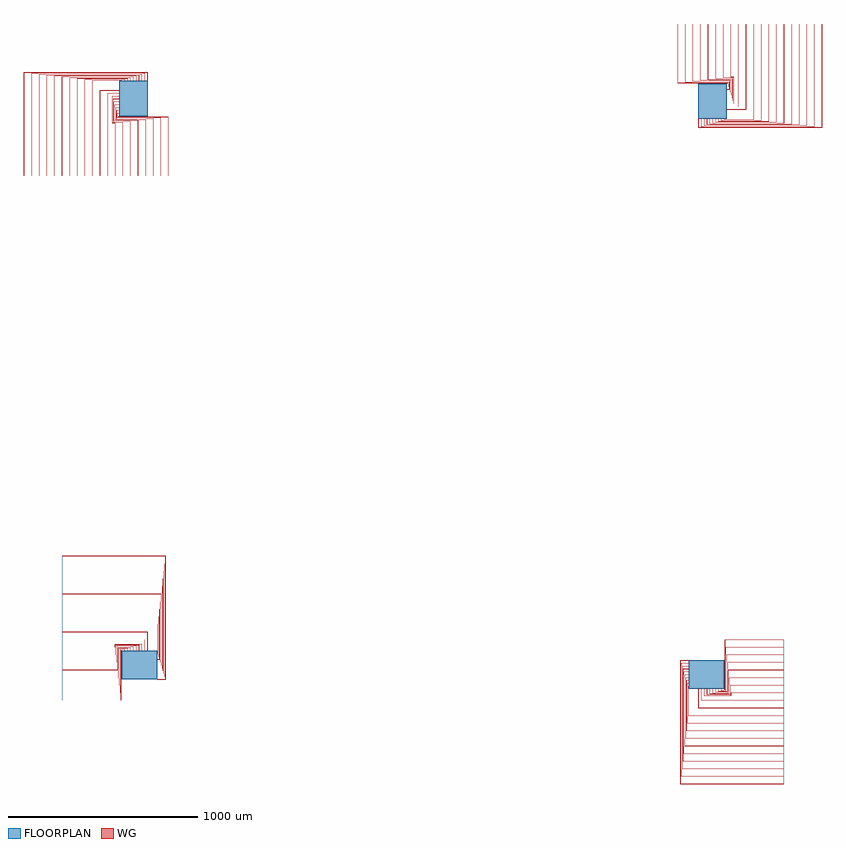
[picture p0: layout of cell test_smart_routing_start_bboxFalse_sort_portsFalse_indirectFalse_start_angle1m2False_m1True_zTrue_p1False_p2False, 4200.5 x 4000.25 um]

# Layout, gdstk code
import gdstk
lib = gdstk.Library(unit=1e-6, precision=1e-09)
def R(c, l, rs):  # rectangles x0, y0, x1, y1
    for r in rs: c.add(gdstk.rectangle(r[:2], r[2:], *l))
def P(c, l, *ps):  # polygons
    for p in ps: c.add(gdstk.Polygon(p, *l))
WG = (1, 0)
FLOORPLAN = (10, 0)

test_smart_routing_start = lib.new_cell('test_smart_routing_start_bboxFalse_sort_portsFalse_indirectFalse_start_angle1m2False_m1True_zTrue_p1False_p2False')
P(test_smart_routing_start, WG, [(100,-50.25),(100,-49.75),(144.5,-49.75),(144.5,599.75),(-400,599.75),(-400,600.25),(145,600.25),(145,-50.25)],
  [(100,-35.25),(100,-34.75),(140,-34.75),(140,559.75),(-400,559.75),(-400,560.25),(140.5,560.25),(140.5,-35.25)],
  [(100,-20.25),(100,-19.75),(135.5,-19.75),(135.5,519.75),(-400,519.75),(-400,520.25),(136,520.25),(136,-20.25)],
  [(100,-5.25),(100,-4.75),(131,-4.75),(131,479.75),(-400,479.75),(-400,480.25),(131.5,480.25),(131.5,-5.25)],
  [(100,9.75),(100,10.25),(126.5,10.25),(126.5,439.75),(-400,439.75),(-400,440.25),(127,440.25),(127,9.75)],
  [(100,24.75),(100,25.25),(122,25.25),(122,399.75),(-400,399.75),(-400,400.25),(122.5,400.25),(122.5,24.75)],
  [(100,39.75),(100,40.25),(117.5,40.25),(117.5,359.75),(-400,359.75),(-400,360.25),(118,360.25),(118,39.75)],
  [(100,54.75),(100,55.25),(113,55.25),(113,319.75),(-400,319.75),(-400,320.25),(113.5,320.25),(113.5,54.75)],
  [(100,69.75),(100,70.25),(108.5,70.25),(108.5,279.75),(-400,279.75),(-400,280.25),(109,280.25),(109,69.75)],
  [(100,84.75),(100,85.25),(104,85.25),(104,239.75),(-400,239.75),(-400,240.25),(104.5,240.25),(104.5,84.75)],
  [(49.75,100),(49.75,199.75),(-400,199.75),(-400,200.25),(50.25,200.25),(50.25,100)],
  [(34.75,100),(34.75,159.75),(-400,159.75),(-400,160.25),(35.25,160.25),(35.25,100)],
  [(19.75,100),(19.75,135.5),(-120.75,135.5),(-120.75,119.75),(-400,119.75),(-400,120.25),(-121.25,120.25),(-121.25,136),(20.25,136),(20.25,100)],
  [(-400,79.75),(-400,80.25),(-116.75,80.25),(-116.75,131.5),(5.25,131.5),(5.25,100),(4.75,100),(4.75,131),(-116.25,131),(-116.25,79.75)],
  [(-400,39.75),(-400,40.25),(-112.25,40.25),(-112.25,127),(-9.75,127),(-9.75,100),(-10.25,100),(-10.25,126.5),(-111.75,126.5),(-111.75,39.75)],
  [(-400,-0.25),(-400,0.25),(-107.75,0.25),(-107.75,122.5),(-24.75,122.5),(-24.75,100),(-25.25,100),(-25.25,122),(-107.25,122),(-107.25,-0.25)],
  [(-400,-40.25),(-400,-39.75),(-103.25,-39.75),(-103.25,118),(-39.75,118),(-39.75,100),(-40.25,100),(-40.25,117.5),(-102.75,117.5),(-102.75,-40.25)],
  [(-400,-80.25),(-400,-79.75),(-98.75,-79.75),(-98.75,113.5),(-54.75,113.5),(-54.75,100),(-55.25,100),(-55.25,113),(-98.25,113),(-98.25,-80.25)],
  [(-400,-120.25),(-400,-119.75),(-94.25,-119.75),(-94.25,109),(-69.75,109),(-69.75,100),(-70.25,100),(-70.25,108.5),(-93.75,108.5),(-93.75,-120.25)],
  [(-400,-160.25),(-400,-159.75),(-89.75,-159.75),(-89.75,104.5),(-84.75,104.5),(-84.75,100),(-85.25,100),(-85.25,104),(-89.25,104),(-89.25,-160.25)],
  [(-600.25,2600),(-600.25,3145),(50.25,3145),(50.25,3100),(49.75,3100),(49.75,3144.5),(-599.75,3144.5),(-599.75,2600)],
  [(-560.25,2600),(-560.25,3140.5),(35.25,3140.5),(35.25,3100),(34.75,3100),(34.75,3140),(-559.75,3140),(-559.75,2600)],
  [(-520.25,2600),(-520.25,3136),(20.25,3136),(20.25,3100),(19.75,3100),(19.75,3135.5),(-519.75,3135.5),(-519.75,2600)],
  [(-480.25,2600),(-480.25,3131.5),(5.25,3131.5),(5.25,3100),(4.75,3100),(4.75,3131),(-479.75,3131),(-479.75,2600)],
  [(-440.25,2600),(-440.25,3127),(-9.75,3127),(-9.75,3100),(-10.25,3100),(-10.25,3126.5),(-439.75,3126.5),(-439.75,2600)],
  [(-400.25,2600),(-400.25,3122.5),(-24.75,3122.5),(-24.75,3100),(-25.25,3100),(-25.25,3122),(-399.75,3122),(-399.75,2600)],
  [(-360.25,2600),(-360.25,3118),(-39.75,3118),(-39.75,3100),(-40.25,3100),(-40.25,3117.5),(-359.75,3117.5),(-359.75,2600)],
  [(-320.25,2600),(-320.25,3113.5),(-54.75,3113.5),(-54.75,3100),(-55.25,3100),(-55.25,3113),(-319.75,3113),(-319.75,2600)],
  [(-280.25,2600),(-280.25,3109),(-69.75,3109),(-69.75,3100),(-70.25,3100),(-70.25,3108.5),(-279.75,3108.5),(-279.75,2600)],
  [(-240.25,2600),(-240.25,3104.5),(-84.75,3104.5),(-84.75,3100),(-85.25,3100),(-85.25,3104),(-239.75,3104),(-239.75,2600)],
  [(-200.25,2600),(-200.25,3050.25),(-100,3050.25),(-100,3049.75),(-199.75,3049.75),(-199.75,2600)],
  [(-160.25,2600),(-160.25,3035.25),(-100,3035.25),(-100,3034.75),(-159.75,3034.75),(-159.75,2600)],
  [(-120.25,2600),(-120.25,2878.75),(-136,2878.75),(-136,3020.25),(-100,3020.25),(-100,3019.75),(-135.5,3019.75),(-135.5,2879.25),(-119.75,2879.25),(-119.75,2600)],
  [(-80.25,2600),(-80.25,2883.25),(-131.5,2883.25),(-131.5,3005.25),(-100,3005.25),(-100,3004.75),(-131,3004.75),(-131,2883.75),(-79.75,2883.75),(-79.75,2600)],
  [(-40.25,2600),(-40.25,2887.75),(-127,2887.75),(-127,2990.25),(-100,2990.25),(-100,2989.75),(-126.5,2989.75),(-126.5,2888.25),(-39.75,2888.25),(-39.75,2600)],
  [(-0.25,2600),(-0.25,2892.25),(-122.5,2892.25),(-122.5,2975.25),(-100,2975.25),(-100,2974.75),(-122,2974.75),(-122,2892.75),(0.25,2892.75),(0.25,2600)],
  [(39.75,2600),(39.75,2896.75),(-118,2896.75),(-118,2960.25),(-100,2960.25),(-100,2959.75),(-117.5,2959.75),(-117.5,2897.25),(40.25,2897.25),(40.25,2600)],
  [(79.75,2600),(79.75,2901.25),(-113.5,2901.25),(-113.5,2945.25),(-100,2945.25),(-100,2944.75),(-113,2944.75),(-113,2901.75),(80.25,2901.75),(80.25,2600)],
  [(119.75,2600),(119.75,2905.75),(-109,2905.75),(-109,2930.25),(-100,2930.25),(-100,2929.75),(-108.5,2929.75),(-108.5,2906.25),(120.25,2906.25),(120.25,2600)],
  [(159.75,2600),(159.75,2910.25),(-104.5,2910.25),(-104.5,2915.25),(-100,2915.25),(-100,2914.75),(-104,2914.75),(-104,2910.75),(160.25,2910.75),(160.25,2600)],
  [(2855,-600.25),(2855,50.25),(2900,50.25),(2900,49.75),(2855.5,49.75),(2855.5,-599.75),(3400,-599.75),(3400,-600.25)],
  [(2859.5,-560.25),(2859.5,35.25),(2900,35.25),(2900,34.75),(2860,34.75),(2860,-559.75),(3400,-559.75),(3400,-560.25)],
  [(2864,-520.25),(2864,20.25),(2900,20.25),(2900,19.75),(2864.5,19.75),(2864.5,-519.75),(3400,-519.75),(3400,-520.25)],
  [(2868.5,-480.25),(2868.5,5.25),(2900,5.25),(2900,4.75),(2869,4.75),(2869,-479.75),(3400,-479.75),(3400,-480.25)],
  [(2873,-440.25),(2873,-9.75),(2900,-9.75),(2900,-10.25),(2873.5,-10.25),(2873.5,-439.75),(3400,-439.75),(3400,-440.25)],
  [(2877.5,-400.25),(2877.5,-24.75),(2900,-24.75),(2900,-25.25),(2878,-25.25),(2878,-399.75),(3400,-399.75),(3400,-400.25)],
  [(2882,-360.25),(2882,-39.75),(2900,-39.75),(2900,-40.25),(2882.5,-40.25),(2882.5,-359.75),(3400,-359.75),(3400,-360.25)],
  [(2886.5,-320.25),(2886.5,-54.75),(2900,-54.75),(2900,-55.25),(2887,-55.25),(2887,-319.75),(3400,-319.75),(3400,-320.25)],
  [(2891,-280.25),(2891,-69.75),(2900,-69.75),(2900,-70.25),(2891.5,-70.25),(2891.5,-279.75),(3400,-279.75),(3400,-280.25)],
  [(2895.5,-240.25),(2895.5,-84.75),(2900,-84.75),(2900,-85.25),(2896,-85.25),(2896,-239.75),(3400,-239.75),(3400,-240.25)],
  [(2949.75,-200.25),(2949.75,-100),(2950.25,-100),(2950.25,-199.75),(3400,-199.75),(3400,-200.25)],
  [(2964.75,-160.25),(2964.75,-100),(2965.25,-100),(2965.25,-159.75),(3400,-159.75),(3400,-160.25)],
  [(2979.75,-136),(2979.75,-100),(2980.25,-100),(2980.25,-135.5),(3120.75,-135.5),(3120.75,-119.75),(3400,-119.75),(3400,-120.25),(3121.25,-120.25),(3121.25,-136)],
  [(2994.75,-131.5),(2994.75,-100),(2995.25,-100),(2995.25,-131),(3116.25,-131),(3116.25,-79.75),(3400,-79.75),(3400,-80.25),(3116.75,-80.25),(3116.75,-131.5)],
  [(3009.75,-127),(3009.75,-100),(3010.25,-100),(3010.25,-126.5),(3111.75,-126.5),(3111.75,-39.75),(3400,-39.75),(3400,-40.25),(3112.25,-40.25),(3112.25,-127)],
  [(3024.75,-122.5),(3024.75,-100),(3025.25,-100),(3025.25,-122),(3107.25,-122),(3107.25,0.25),(3400,0.25),(3400,-0.25),(3107.75,-0.25),(3107.75,-122.5)],
  [(3039.75,-118),(3039.75,-100),(3040.25,-100),(3040.25,-117.5),(3102.75,-117.5),(3102.75,40.25),(3400,40.25),(3400,39.75),(3103.25,39.75),(3103.25,-118)],
  [(3054.75,-113.5),(3054.75,-100),(3055.25,-100),(3055.25,-113),(3098.25,-113),(3098.25,80.25),(3400,80.25),(3400,79.75),(3098.75,79.75),(3098.75,-113.5)],
  [(3069.75,-109),(3069.75,-100),(3070.25,-100),(3070.25,-108.5),(3093.75,-108.5),(3093.75,120.25),(3400,120.25),(3400,119.75),(3094.25,119.75),(3094.25,-109)],
  [(3084.75,-104.5),(3084.75,-100),(3085.25,-100),(3085.25,-104),(3089.25,-104),(3089.25,160.25),(3400,160.25),(3400,159.75),(3089.75,159.75),(3089.75,-104.5)],
  [(2949.75,2855),(2949.75,2900),(2950.25,2900),(2950.25,2855.5),(3599.75,2855.5),(3599.75,3400),(3600.25,3400),(3600.25,2855)],
  [(2964.75,2859.5),(2964.75,2900),(2965.25,2900),(2965.25,2860),(3559.75,2860),(3559.75,3400),(3560.25,3400),(3560.25,2859.5)],
  [(2979.75,2864),(2979.75,2900),(2980.25,2900),(2980.25,2864.5),(3519.75,2864.5),(3519.75,3400),(3520.25,3400),(3520.25,2864)],
  [(2994.75,2868.5),(2994.75,2900),(2995.25,2900),(2995.25,2869),(3479.75,2869),(3479.75,3400),(3480.25,3400),(3480.25,2868.5)],
  [(3009.75,2873),(3009.75,2900),(3010.25,2900),(3010.25,2873.5),(3439.75,2873.5),(3439.75,3400),(3440.25,3400),(3440.25,2873)],
  [(3024.75,2877.5),(3024.75,2900),(3025.25,2900),(3025.25,2878),(3399.75,2878),(3399.75,3400),(3400.25,3400),(3400.25,2877.5)],
  [(3039.75,2882),(3039.75,2900),(3040.25,2900),(3040.25,2882.5),(3359.75,2882.5),(3359.75,3400),(3360.25,3400),(3360.25,2882)],
  [(3054.75,2886.5),(3054.75,2900),(3055.25,2900),(3055.25,2887),(3319.75,2887),(3319.75,3400),(3320.25,3400),(3320.25,2886.5)],
  [(3069.75,2891),(3069.75,2900),(3070.25,2900),(3070.25,2891.5),(3279.75,2891.5),(3279.75,3400),(3280.25,3400),(3280.25,2891)],
  [(3084.75,2895.5),(3084.75,2900),(3085.25,2900),(3085.25,2896),(3239.75,2896),(3239.75,3400),(3240.25,3400),(3240.25,2895.5)],
  [(3100,2949.75),(3100,2950.25),(3199.75,2950.25),(3199.75,3400),(3200.25,3400),(3200.25,2949.75)],
  [(3100,2964.75),(3100,2965.25),(3159.75,2965.25),(3159.75,3400),(3160.25,3400),(3160.25,2964.75)],
  [(3100,2979.75),(3100,2980.25),(3135.5,2980.25),(3135.5,3120.75),(3119.75,3120.75),(3119.75,3400),(3120.25,3400),(3120.25,3121.25),(3136,3121.25),(3136,2979.75)],
  [(3100,2994.75),(3100,2995.25),(3131,2995.25),(3131,3116.25),(3079.75,3116.25),(3079.75,3400),(3080.25,3400),(3080.25,3116.75),(3131.5,3116.75),(3131.5,2994.75)],
  [(3100,3009.75),(3100,3010.25),(3126.5,3010.25),(3126.5,3111.75),(3039.75,3111.75),(3039.75,3400),(3040.25,3400),(3040.25,3112.25),(3127,3112.25),(3127,3009.75)],
  [(3100,3024.75),(3100,3025.25),(3122,3025.25),(3122,3107.25),(2999.75,3107.25),(2999.75,3400),(3000.25,3400),(3000.25,3107.75),(3122.5,3107.75),(3122.5,3024.75)],
  [(3100,3039.75),(3100,3040.25),(3117.5,3040.25),(3117.5,3102.75),(2959.75,3102.75),(2959.75,3400),(2960.25,3400),(2960.25,3103.25),(3118,3103.25),(3118,3039.75)],
  [(3100,3054.75),(3100,3055.25),(3113,3055.25),(3113,3098.25),(2919.75,3098.25),(2919.75,3400),(2920.25,3400),(2920.25,3098.75),(3113.5,3098.75),(3113.5,3054.75)],
  [(3100,3069.75),(3100,3070.25),(3108.5,3070.25),(3108.5,3093.75),(2879.75,3093.75),(2879.75,3400),(2880.25,3400),(2880.25,3094.25),(3109,3094.25),(3109,3069.75)],
  [(3100,3084.75),(3100,3085.25),(3104,3085.25),(3104,3089.25),(2839.75,3089.25),(2839.75,3400),(2840.25,3400),(2840.25,3089.75),(3104.5,3089.75),(3104.5,3084.75)])
R(test_smart_routing_start, FLOORPLAN, [(2900,-100,3085,50), (-85,-50,100,100), (2950,2900,3100,3085), (-100,2915,50,3100)])
P(test_smart_routing_start, FLOORPLAN, [(-400,-160),(-400,600),(-400,600),(-400,-160)],
  [(-600,2600),(-600,2600),(160,2600),(160,2600)],
  [(3400,-600),(3400,160),(3400,160),(3400,-600)],
  [(2840,3400),(2840,3400),(3600,3400),(3600,3400)])

lib.write_gds('test_smart_routing_start_bboxFalse_sort_portsFalse_indirectFalse_start_angle1m2False_m1True_zTrue_p1False_p2False.gds')
